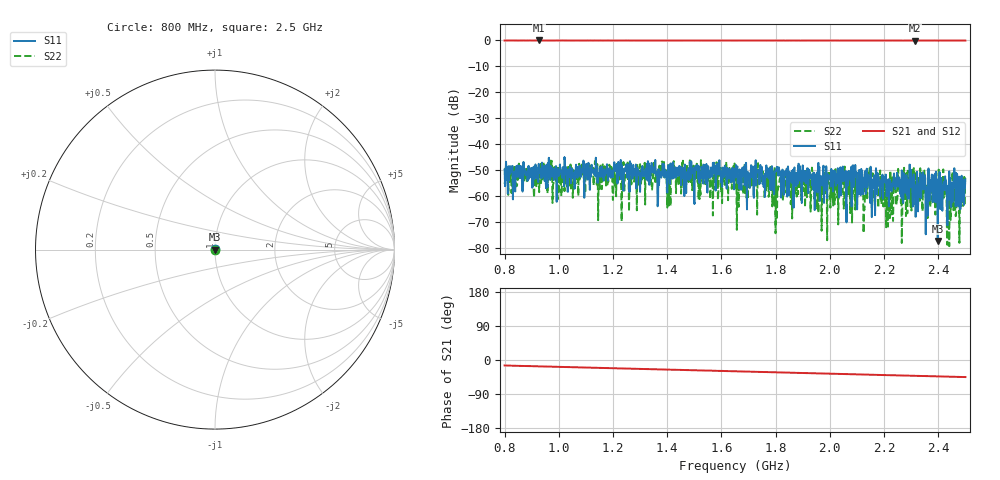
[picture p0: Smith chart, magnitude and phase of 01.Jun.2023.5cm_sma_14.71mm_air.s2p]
!Keysight Technologies N9950B: A.12.38
!Date: Thursday, 01 June 2023 13:34:55
!Timezone: (UTC-06:00) Central Time (US & Canada)
!Model: N9950B
!Serial: MY61131330
!GPS Latitude:
!GPS Longitude:
!GPS TimeStamp: 0001-01-01 00:00:00Z
!GPS Seconds Since Last Read: 0
!CHECKSUM:1659347202
!Correction: S11(ON U)S21(ON U)S12(ON U)S22(ON U)
!S2P File: Measurements:S11,S21,S12,S22:
# Hz S DB R 50
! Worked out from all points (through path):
!   1001 points, 800 MHz to 2.5 GHz, reference 50 ohm
!   highest |S21| = -0.01 dB at 925.8 MHz (marker M1); lowest = -0.1 dB at 2.313 GHz (marker M2)
!   group delay of S21, straight-line fit = 50 ps
!   lowest |S11| = -77.3 dB at 2.398 GHz (marker M3), VSWR 1.00, Z = 50 + j0.0136 ohm
!   |S11| at or under -10 dB: start of sweep to end of sweep
!   |S22| runs from -79.3 to -46.2 dB; largest |S21 - S12| = 0.0056
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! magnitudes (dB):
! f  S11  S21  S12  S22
! 800 MHz  -49.8  0.0  0.0  -55.4
! 925.8 MHz  -47.6  0.0  0.0  -53.4
! 1.084 GHz  -50.0  0.0  0.0  -49.9
! 1.368 GHz  -49.6  0.0  0.0  -51.5
! 1.65 GHz  -50.8  0.0  0.0  -50.1
! 1.784 GHz  -51.0  0.0  0.0  -49.4
! 1.803 GHz  -50.3  0.0  0.0  -61.4
! 1.823 GHz  -56.3  0.0  0.0  -53.3
! 1.934 GHz  -51.8  0.0  0.0  -49.1
! 1.961 GHz  -48.8  0.0  0.0  -54.6
! 2.109 GHz  -52.4  0.0  0.0  -56.9
! 2.129 GHz  -56.5  0.0  0.0  -60.2
! 2.14 GHz  -53.4  0.0  0.0  -54.8
! 2.177 GHz  -51.6  0.0  0.0  -59.5
! 2.218 GHz  -64.0  0.0  0.0  -57.3
! 2.313 GHz  -55.8  -0.1  0.0  -55.1
! 2.398 GHz  -77.3  0.0  0.0  -61.8
! 2.422 GHz  -54.4  0.0  0.0  -52.7
! 2.441 GHz  -50.5  0.0  0.0  -79.3
! 2.451 GHz  -54.8  0.0  0.0  -59.9
! 2.471 GHz  -55.3  -0.1  0.0  -60.5
! 2.5 GHz  -53.5  0.0  0.0  -52.7
